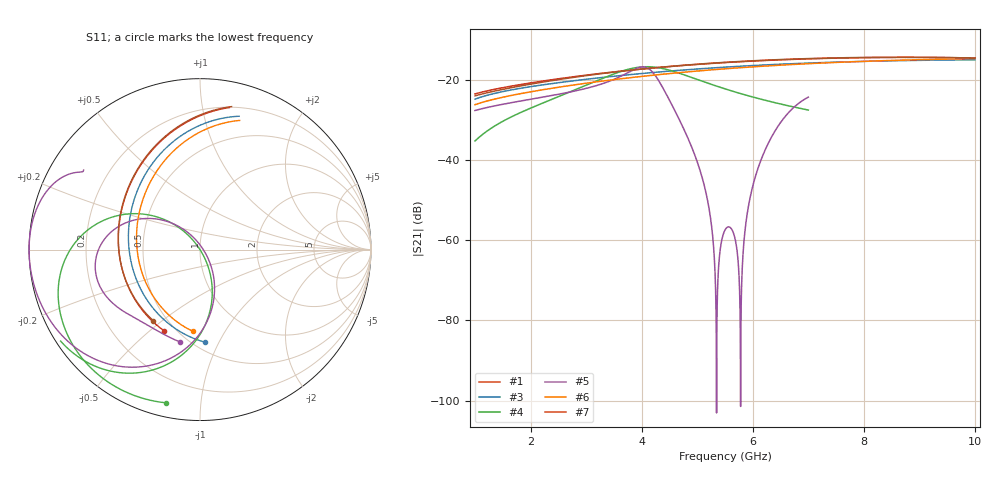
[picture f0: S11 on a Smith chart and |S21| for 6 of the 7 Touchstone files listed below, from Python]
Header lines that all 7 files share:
# Hz S RI R 50
! Freq.	S11(V2)	S12(V2)	S21(V2)	S22(V2)
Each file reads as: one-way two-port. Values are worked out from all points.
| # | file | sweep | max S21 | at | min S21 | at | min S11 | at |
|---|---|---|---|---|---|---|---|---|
| 1 | 1to10G.s2p | 1 GHz to 10 GHz | -14.45 dB | 8.798 GHz | -23.6 dB | 1 GHz | -6.6 dB | 1.987 GHz |
| 2 | comdiodo.s2p | 1 GHz to 10 GHz | -14.45 dB | 8.798 GHz | -23.6 dB | 1 GHz | -6.6 dB | 1.987 GHz |
| 3 | fim.s2p | 1 GHz to 10 GHz | -15.04 dB | 10 GHz | -24.9 dB | 1 GHz | -7.8 dB | 2.443 GHz |
| 4 | Sparam-LCmatched.s2p | 1 GHz to 7 GHz | -16.78 dB | 4.093 GHz | -35.3 dB | 1 GHz | -74.9 dB | 3.994 GHz |
| 5 | Sparam-LSmatched.s2p | 1 GHz to 7 GHz | -16.81 dB | 4.023 GHz | -103.1 dB | 5.348 GHz | -35.8 dB | 4.008 GHz |
| 6 | Sparam-partI.s2p | 1 GHz to 10 GHz | -14.75 dB | 10 GHz | -26.2 dB | 1 GHz | -8.8 dB | 2.289 GHz |
| 7 | valores.s2p | 1 GHz to 10 GHz | -14.42 dB | 8.654 GHz | -24.0 dB | 1 GHz | -6.6 dB | 1.766 GHz |
